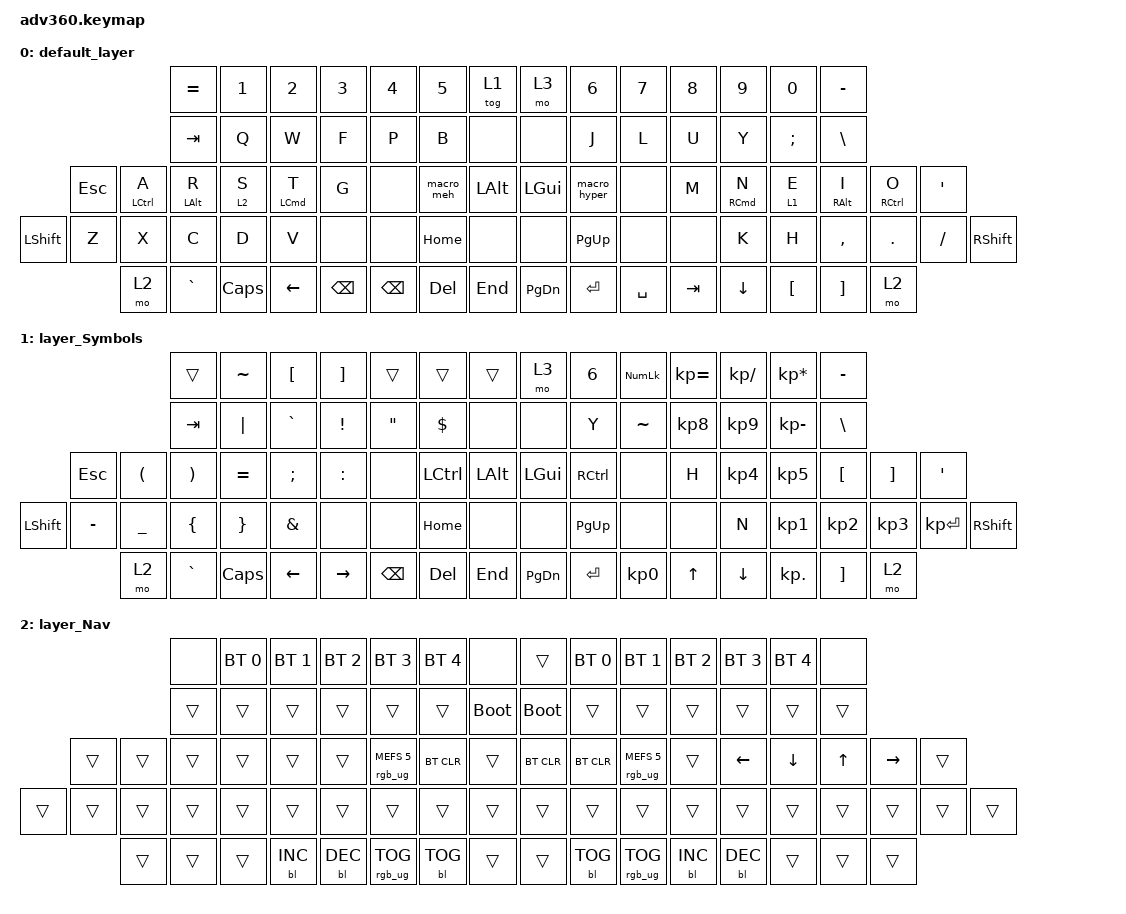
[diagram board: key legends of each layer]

/*
 * Copyright (c) 2020 The ZMK Contributors
 *
 * SPDX-License-Identifier: MIT
 */


/* THIS FILE WAS GENERATED!
 *
 * This file was generated automatically. You may or may not want to
 * edit it directly.
 */

#include <behaviors.dtsi>
#include <dt-bindings/zmk/keys.h>
#include <dt-bindings/zmk/bt.h>
#include <dt-bindings/zmk/rgb.h>
#include <dt-bindings/zmk/backlight.h>

/ {
  behaviors {
    #include "macros.dtsi"

    hm: homerow_mods {
        compatible = "zmk,behavior-hold-tap";
        label = "HOMEROW_MODS";
        #binding-cells = <2>;
        tapping-term-ms = <200>;
        quick_tap_ms = <175>;
        flavor = "tap-preferred";
        bindings = <&kp>, <&kp>;
    };
  };

    keymap {
        compatible = "zmk,keymap";


        default_layer {
            bindings = <
 &kp EQUAL              &kp N1          &kp N2    &kp N3              &kp N4    &kp N5             &tog 1      &mo 3     &kp N6     &kp N7     &kp N8     &kp N9         &kp N0  &kp MINUS
   &kp TAB               &kp Q           &kp W     &kp F               &kp P     &kp B              &none      &none      &kp J      &kp L      &kp U      &kp Y  &kp SEMICOLON   &kp BSLH
   &kp ESC  &hm LEFT_CONTROL A  &hm LEFT_ALT R   &lt 2 S  &hm LEFT_COMMAND T     &kp G              &none      &macro_meh   &kp LALT                         &kp LGUI      &macro_hyper      &none     &kp M  &hm RIGHT_COMMAND N    &lt 1 E  &hm RIGHT_ALT I  &hm RIGHT_CONTROL O    &kp SQT
 &kp LSHFT               &kp Z           &kp X     &kp C               &kp D     &kp V              &none      &none   &kp HOME      &none      &none  &kp PG_UP          &none      &none     &kp K                &kp H  &kp COMMA          &kp DOT             &kp FSLH  &kp RSHFT
     &mo 2           &kp GRAVE        &kp CAPS  &kp LEFT       &kp BACKSPACE  &kp BSPC            &kp DEL    &kp END  &kp PG_DN  &kp ENTER  &kp SPACE    &kp TAB       &kp DOWN   &kp LBKT  &kp RBKT                &mo 2
            >;
        };

        layer_Symbols {
            bindings = <
    &trans              &kp TILDE             &kp LEFT_BRACKET           &kp RIGHT_BRACKET             &trans         &trans             &trans      &mo 3     &kp N6  &kp KP_NUM  &kp KP_EQUAL  &kp KP_DIVIDE  &kp KP_MULTIPLY   &kp MINUS
   &kp TAB              &kp PIPE              &kp GRAVE  &kp EXCLAMATION  &kp DOUBLE_QUOTES     &kp DOLLAR              &none      &none      &kp Y   &kp TILDE     &kp KP_N8      &kp KP_N9     &kp KP_MINUS    &kp BSLH
   &kp ESC  &kp LEFT_PARENTHESIS  &kp RIGHT_PARENTHESIS        &kp EQUAL      &kp SEMICOLON      &kp COLON              &none  &kp LCTRL   &kp LALT                                 &kp LGUI        &kp RCTRL       &none     &kp H  &kp KP_N4  &kp KP_N5  &kp LEFT_BRACKET  &kp RIGHT_BRACKET    &kp SQT
 &kp LSHFT             &kp MINUS              &kp UNDER   &kp LEFT_BRACE    &kp RIGHT_BRACE  &kp AMPERSAND              &none      &none   &kp HOME       &none         &none      &kp PG_UP            &none       &none     &kp N  &kp KP_N1  &kp KP_N2         &kp KP_N3       &kp KP_ENTER  &kp RSHFT
     &mo 2             &kp GRAVE               &kp CAPS         &kp LEFT          &kp RIGHT       &kp BSPC            &kp DEL    &kp END  &kp PG_DN   &kp ENTER     &kp KP_N0         &kp UP         &kp DOWN  &kp KP_DOT  &kp RBKT      &mo 2
            >;
        };

        layer_Nav {
            bindings = <
  &none  &bt BT_SEL 0  &bt BT_SEL 1  &bt BT_SEL 2  &bt BT_SEL 3     &bt BT_SEL 4                             &none       &trans  &bt BT_SEL 0  &bt BT_SEL 1     &bt BT_SEL 2  &bt BT_SEL 3  &bt BT_SEL 4                   &none
  &trans         &trans         &trans         &trans         &trans            &trans                       &bootloader  &bootloader         &trans         &trans            &trans         &trans         &trans                   &trans
  &trans         &trans         &trans         &trans         &trans            &trans            &rgb_ug RGB_MEFS_CMD 5   &bt BT_CLR         &trans                                   &bt BT_CLR    &bt BT_CLR  &rgb_ug RGB_MEFS_CMD 5   &trans  &kp LEFT_ARROW  &kp DOWN_ARROW  &kp UP_ARROW  &kp RIGHT_ARROW   &trans
  &trans         &trans         &trans         &trans         &trans            &trans                             &trans        &trans         &trans         &trans            &trans         &trans         &trans                   &trans   &trans           &trans           &trans         &trans            &trans   &trans
  &trans         &trans         &trans    &bl BL_INC    &bl BL_DEC  &rgb_ug RGB_TOG                        &bl BL_TOG        &trans         &trans    &bl BL_TOG  &rgb_ug RGB_TOG    &bl BL_INC    &bl BL_DEC                   &trans   &trans           &trans
            >;
        };
    };
};
